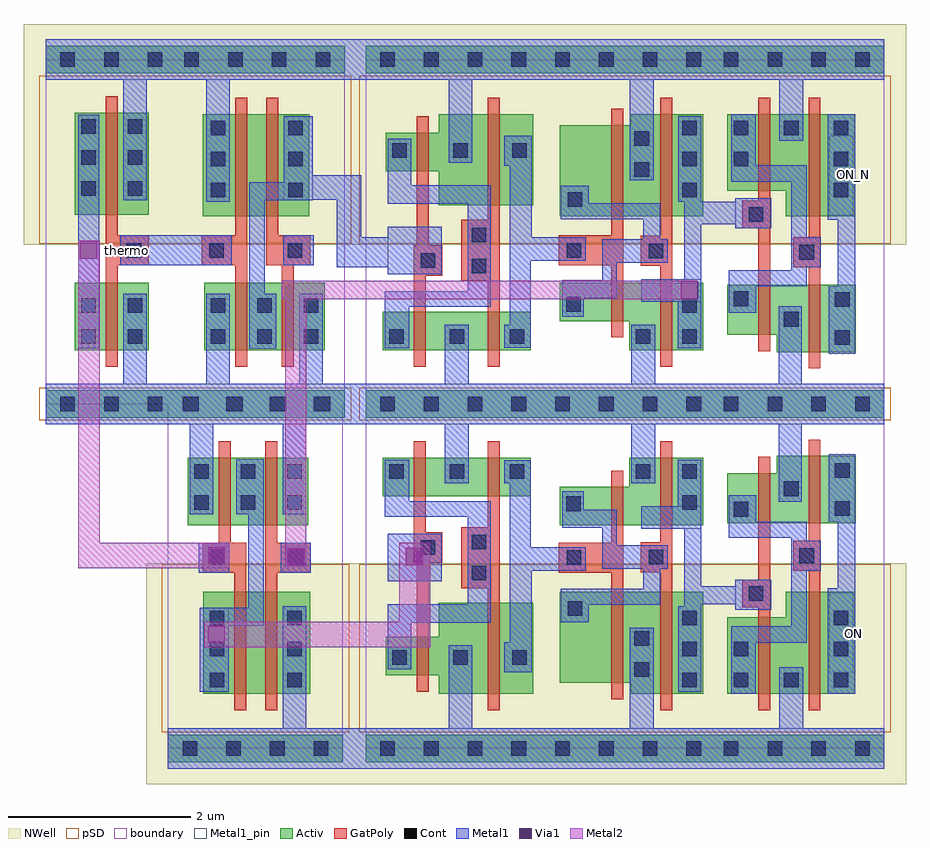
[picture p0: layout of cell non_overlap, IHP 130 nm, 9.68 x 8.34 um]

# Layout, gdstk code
from math import pi, radians
import gdstk
lib = gdstk.Library(unit=1e-6, precision=1e-09)
def R(c, l, rs):  # rectangles x0, y0, x1, y1
    for r in rs: c.add(gdstk.rectangle(r[:2], r[2:], *l))
def A(c, l, x, y, w, h, nx, ny, dx, dy):  # array of equal rectangles
    R(c, l, [(x+i*dx, y+j*dy, x+i*dx+w, y+j*dy+h) for i in range(nx) for j in range(ny)])
def P(c, l, *ps):  # polygons
    for p in ps: c.add(gdstk.Polygon(p, *l))
Activ = (1, 0)
GatPoly = (5, 0)
Cont = (6, 0)
Metal1 = (8, 0)
Metal1_pin = (8, 2)
Metal2 = (10, 0)
pSD = (14, 0)
Via1 = (19, 0)
NWell = (31, 0)
boundary = (189, 4)

sg13g2_dlygate4sd1_1 = lib.new_cell('sg13g2_dlygate4sd1_1')
R(sg13g2_dlygate4sd1_1, Activ, [(0,-0.15,3.84,0.15), (0.19,0.59,1.81,1.01), (0,3.63,3.84,3.93)])
P(sg13g2_dlygate4sd1_1, Activ, [(2.895,0.59),(2.895,0.91),(2.13,0.91),(2.13,1.33),(3.705,1.33),(3.705,0.59)],
  [(2.13,2.06),(2.13,3.06),(2.91,3.06),(2.91,3.18),(3.705,3.18),(3.705,2.06)],
  [(0.8,2.18),(0.8,2.555),(0.22,2.555),(0.22,2.975),(0.8,2.975),(0.8,3.18),(1.84,3.18),(1.84,2.18)])
P(sg13g2_dlygate4sd1_1, GatPoly, [(2.695,0.73),(2.695,1.52),(2.12,1.52),(2.12,1.85),(2.695,1.85),(2.695,3.24),(2.825,3.24),(2.825,0.73)],
  [(0.53,0.41),(0.53,1.74),(0.56,1.74),(0.56,3.155),(0.69,3.155),(0.69,1.74),(0.84,1.74),(0.84,1.41),(0.66,1.41),(0.66,0.41)],
  [(1.34,0.41),(1.34,1.35),(1.05,1.35),(1.05,2.02),(1.34,2.02),(1.34,3.36),(1.47,3.36),(1.47,0.41)],
  [(3.235,0.41),(3.235,1.515),(3.02,1.515),(3.02,1.845),(3.235,1.845),(3.235,3.36),(3.365,3.36),(3.365,0.41)])
A(sg13g2_dlygate4sd1_1, Cont, 0.16, -0.08, 0.16, 0.16, 8, 2, 0.48, 3.78)
A(sg13g2_dlygate4sd1_1, Cont, 0.26, 0.66, 0.16, 0.16, 3, 1, 0.66, 0)
A(sg13g2_dlygate4sd1_1, Cont, 3.475, 2.27, 0.16, 0.16, 1, 3, 0, 0.34)
R(sg13g2_dlygate4sd1_1, Cont, [(2.965,0.66,3.125,0.82), (3.475,0.66,3.635,0.82), (3.475,1,3.635,1.16), (2.2,1.015,2.36,1.175), (1.165,1.435,1.325,1.595), (0.605,1.495,0.765,1.655), (3.105,1.6,3.265,1.76), (2.205,1.605,2.365,1.765), (1.165,1.775,1.325,1.935), (2.215,2.165,2.375,2.325), (2.95,2.495,3.11,2.655), (0.29,2.7,0.45,2.86), (0.96,2.7,1.12,2.86), (1.61,2.7,1.77,2.86), (2.95,2.835,3.11,2.995)])
R(sg13g2_dlygate4sd1_1, Metal1, [(3.025,1.12,3.685,1.37), (0.24,1.425,0.835,1.945)])
P(sg13g2_dlygate4sd1_1, Metal1, [(2.155,0.96),(2.155,1.36),(2.595,1.36),(2.595,1.81),(3.045,1.81),(3.045,2.03),(2.14,2.03),(2.14,2.395),(2.45,2.395),(2.45,2.205),(3.235,2.205),(3.235,1.81),(3.315,1.81),(3.315,1.55),(2.755,1.55),(2.755,1.16),(2.395,1.16),(2.395,0.96)],
  [(3.425,0.61),(3.425,1.37),(3.495,1.37),(3.495,2.22),(3.43,2.22),(3.43,3.16),(3.685,3.16),(3.685,0.61)],
  [(1.52,0.615),(1.52,0.87),(1.58,0.87),(1.58,2.615),(1.52,2.615),(1.52,2.945),(1.825,2.945),(1.825,1.83),(2.415,1.83),(2.415,1.57),(1.81,1.57),(1.81,0.615)],
  [(0.21,0.61),(0.21,1.24),(1.12,1.24),(1.12,2.195),(0.24,2.195),(0.24,2.91),(0.5,2.91),(0.5,2.4),(1.375,2.4),(1.375,1.065),(0.48,1.065),(0.48,0.61)],
  [(2.9,2.455),(2.9,3.56),(1.17,3.56),(1.17,2.65),(0.91,2.65),(0.91,3.56),(0,3.56),(0,4),(3.84,4),(3.84,3.56),(3.16,3.56),(3.16,2.455)],
  [(0,-0.22),(0,0.22),(0.87,0.22),(0.87,0.87),(1.13,0.87),(1.13,0.22),(2.915,0.22),(2.915,0.87),(3.175,0.87),(3.175,0.22),(3.84,0.22),(3.84,-0.22)])
R(sg13g2_dlygate4sd1_1, Metal1_pin, [(0,-0.22,3.84,0.22), (3.025,1.12,3.685,1.37), (0.24,1.425,0.835,1.945), (0,3.56,3.84,4)])
R(sg13g2_dlygate4sd1_1, pSD, [(-0.07,-0.18,3.91,0.18), (-0.07,1.76,3.91,3.6)])
R(sg13g2_dlygate4sd1_1, NWell, [(-0.24,1.75,4.08,4.17)])
R(sg13g2_dlygate4sd1_1, boundary, [(0,0,3.84,3.78)])
sg13g2_dlygate4sd1_1.add(gdstk.Label('X', (3.36,1.26), layer=8, texttype=25))
sg13g2_dlygate4sd1_1.add(gdstk.Label('VDD', (2.085,3.79), layer=8, texttype=25))
sg13g2_dlygate4sd1_1.add(gdstk.Label('VSS', (2.2,0.005), layer=8, texttype=25))
sg13g2_dlygate4sd1_1.add(gdstk.Label('A', (0.52,1.68), layer=8, texttype=25))

sg13g2_buf_1 = lib.new_cell('sg13g2_buf_1')
R(sg13g2_buf_1, Activ, [(0,-0.15,1.92,0.15), (0,3.63,1.92,3.93)])
P(sg13g2_buf_1, Activ, [(0.74,0.57),(0.74,0.76),(0.2,0.76),(0.2,1.31),(1.61,1.31),(1.61,0.57)],
  [(0.84,2.06),(0.84,2.34),(0.2,2.34),(0.2,3.18),(1.595,3.18),(1.595,2.06)])
P(sg13g2_buf_1, GatPoly, [(1.09,0.39),(1.09,1.5),(0.92,1.5),(0.92,1.83),(1.09,1.83),(1.09,3.36),(1.22,3.36),(1.22,0.39)],
  [(0.54,0.58),(0.54,1.93),(0.365,1.93),(0.365,2.23),(0.54,2.23),(0.54,3.36),(0.67,3.36),(0.67,0.58)])
A(sg13g2_buf_1, Cont, 0.16, -0.08, 0.16, 0.16, 4, 2, 0.48, 3.78)
A(sg13g2_buf_1, Cont, 1.365, 2.27, 0.16, 0.16, 1, 3, 0, 0.34)
R(sg13g2_buf_1, Cont, [(1.38,0.65,1.54,0.81), (0.82,0.85,0.98,1.01), (1.38,1.065,1.54,1.225), (0.27,1.075,0.43,1.235), (0.99,1.585,1.15,1.745), (0.435,2,0.595,2.16), (0.27,2.61,0.43,2.77), (0.27,2.95,0.43,3.11), (0.82,2.95,0.98,3.11)])
R(sg13g2_buf_1, Metal1, [(0.285,1.93,0.68,2.26)])
P(sg13g2_buf_1, Metal1, [(0.215,1),(0.215,1.465),(0.9,1.465),(0.9,2.44),(0.24,2.44),(0.24,3.18),(0.51,3.18),(0.51,2.62),(1.07,2.62),(1.07,1.83),(1.225,1.83),(1.225,1.5),(1.07,1.5),(1.07,1.29),(0.515,1.29),(0.515,1)],
  [(1.31,0.55),(1.31,1.29),(1.41,1.29),(1.41,2.02),(1.3,2.02),(1.3,3.18),(1.6,3.18),(1.6,0.55)],
  [(0,-0.22),(0,0.22),(0.765,0.22),(0.765,1.07),(1.015,1.07),(1.015,0.22),(1.92,0.22),(1.92,-0.22)],
  [(0.77,2.89),(0.77,3.56),(0,3.56),(0,4),(1.92,4),(1.92,3.56),(1.03,3.56),(1.03,2.89)])
R(sg13g2_buf_1, Metal1_pin, [(0,-0.22,1.92,0.22), (0.285,1.93,0.68,2.26), (1.315,2.07,1.58,2.945), (1.315,2.07,1.58,2.945), (0,3.56,1.92,4)])
R(sg13g2_buf_1, pSD, [(-0.065,-0.18,1.99,0.18), (-0.065,1.76,1.99,3.6)])
R(sg13g2_buf_1, NWell, [(-0.24,1.75,2.16,4.17)])
R(sg13g2_buf_1, boundary, [(0,0,1.92,3.78)])
sg13g2_buf_1.add(gdstk.Label('X', (1.45,2.51), layer=8, texttype=25))
sg13g2_buf_1.add(gdstk.Label('A', (0.53,2.1), layer=8, texttype=25))
sg13g2_buf_1.add(gdstk.Label('VSS', (0.98,-0.01), layer=8, texttype=25))
sg13g2_buf_1.add(gdstk.Label('VDD', (1.07,3.83), layer=8, texttype=25))

sg13g2_nor2_1 = lib.new_cell('sg13g2_nor2_1')
R(sg13g2_nor2_1, Activ, [(0,-0.15,1.92,0.15), (0.38,0.59,1.7,1.33), (0.36,2.06,1.53,3.18), (0,3.63,1.92,3.93)])
P(sg13g2_nor2_1, GatPoly, [(1.23,0.41),(1.23,1.52),(1.06,1.52),(1.06,3.36),(1.19,3.36),(1.19,1.85),(1.54,1.85),(1.54,1.52),(1.36,1.52),(1.36,0.41)],
  [(0.72,0.41),(0.72,1.52),(0.35,1.52),(0.35,1.85),(0.72,1.85),(0.72,3.36),(0.85,3.36),(0.85,0.41)])
A(sg13g2_nor2_1, Cont, 0.45, 0.66, 0.16, 0.16, 3, 2, 0.51, 0.34)
A(sg13g2_nor2_1, Cont, 0.45, 2.27, 0.16, 0.16, 1, 3, 0, 0.34)
A(sg13g2_nor2_1, Cont, 1.3, 2.27, 0.16, 0.16, 1, 3, 0, 0.34)
R(sg13g2_nor2_1, Cont, [(0.16,-0.08,0.32,0.08), (0.16,-0.08,0.32,0.08), (0.64,-0.08,0.8,0.08), (0.64,-0.08,0.8,0.08), (1.12,-0.08,1.28,0.08), (1.12,-0.08,1.28,0.08), (1.6,-0.08,1.76,0.08), (1.6,-0.08,1.76,0.08), (0.435,1.605,0.595,1.765), (1.295,1.605,1.455,1.765), (0.16,3.7,0.32,3.86), (0.16,3.7,0.32,3.86), (0.64,3.7,0.8,3.86), (0.64,3.7,0.8,3.86), (1.12,3.7,1.28,3.86), (1.12,3.7,1.28,3.86), (1.6,3.7,1.76,3.86), (1.6,3.7,1.76,3.86)])
R(sg13g2_nor2_1, Metal1, [(0.35,1.52,0.68,1.85), (1.245,1.52,1.58,1.85)])
P(sg13g2_nor2_1, Metal1, [(0.87,0.605),(0.87,2.435),(1.25,2.435),(1.25,3.16),(1.57,3.16),(1.57,2.235),(1.04,2.235),(1.04,1.21),(1.17,1.21),(1.17,0.605)],
  [(0.4,2.22),(0.4,3.56),(0,3.56),(0,4),(1.92,4),(1.92,3.56),(0.66,3.56),(0.66,2.22)],
  [(0,-0.22),(0,0.22),(0.4,0.22),(0.4,1.21),(0.66,1.21),(0.66,0.22),(1.42,0.22),(1.42,1.21),(1.68,1.21),(1.68,0.22),(1.92,0.22),(1.92,-0.22)])
R(sg13g2_nor2_1, Metal1_pin, [(0,-0.22,1.92,0.22), (0.35,1.52,0.68,1.85), (1.245,1.52,1.58,1.85), (1.25,2.235,1.57,3.16), (0,3.56,1.92,4)])
R(sg13g2_nor2_1, pSD, [(-0.07,-0.18,1.99,0.18), (-0.07,1.76,1.99,3.6)])
R(sg13g2_nor2_1, NWell, [(-0.24,1.75,2.16,4.17)])
R(sg13g2_nor2_1, boundary, [(0,0,1.92,3.78)])
sg13g2_nor2_1.add(gdstk.Label('A', (0.52,1.765), layer=8, texttype=25))
sg13g2_nor2_1.add(gdstk.Label('VDD', (0.985,3.78), layer=8, texttype=25))
sg13g2_nor2_1.add(gdstk.Label('Y', (1.44,2.52), layer=8, texttype=25))
sg13g2_nor2_1.add(gdstk.Label('VSS', (0.995,0.005), layer=8, texttype=25))
sg13g2_nor2_1.add(gdstk.Label('B', (1.38,1.76), layer=8, texttype=25))

sg13g2_inv_1 = lib.new_cell('sg13g2_inv_1')
R(sg13g2_inv_1, Activ, [(0,-0.15,1.44,0.15), (0.31,0.59,1.12,1.33), (0.31,2.075,1.12,3.195), (0,3.63,1.44,3.93)])
P(sg13g2_inv_1, GatPoly, [(0.65,0.41),(0.65,1.52),(0.31,1.52),(0.31,1.85),(0.65,1.85),(0.65,3.375),(0.78,3.375),(0.78,0.41)])
A(sg13g2_inv_1, Cont, 0.38, 2.285, 0.16, 0.16, 1, 3, 0, 0.34)
A(sg13g2_inv_1, Cont, 0.89, 2.285, 0.16, 0.16, 1, 3, 0, 0.34)
R(sg13g2_inv_1, Cont, [(0.16,-0.08,0.32,0.08), (0.16,-0.08,0.32,0.08), (0.64,-0.08,0.8,0.08), (0.64,-0.08,0.8,0.08), (1.12,-0.08,1.28,0.08), (1.12,-0.08,1.28,0.08), (0.38,0.66,0.54,0.82), (0.89,0.66,1.05,0.82), (0.38,1,0.54,1.16), (0.89,1,1.05,1.16), (0.395,1.605,0.555,1.765), (0.16,3.7,0.32,3.86), (0.16,3.7,0.32,3.86), (0.64,3.7,0.8,3.86), (0.64,3.7,0.8,3.86), (1.12,3.7,1.28,3.86), (1.12,3.7,1.28,3.86)])
R(sg13g2_inv_1, Metal1, [(0.855,0.61,1.085,3.175), (0.31,1.52,0.625,1.85)])
P(sg13g2_inv_1, Metal1, [(0.33,2.235),(0.33,3.56),(0,3.56),(0,4),(1.44,4),(1.44,3.56),(0.59,3.56),(0.59,2.235)],
  [(0,-0.22),(0,0.22),(0.33,0.22),(0.33,1.21),(0.59,1.21),(0.59,0.22),(1.44,0.22),(1.44,-0.22)])
R(sg13g2_inv_1, Metal1_pin, [(0,-0.22,1.44,0.22), (0.855,0.61,1.085,3.175), (0.31,1.52,0.625,1.85), (0,3.56,1.44,4)])
R(sg13g2_inv_1, pSD, [(-0.07,-0.18,1.51,0.18), (-0.07,1.76,1.51,3.6)])
R(sg13g2_inv_1, NWell, [(-0.24,1.75,1.68,4.17)])
R(sg13g2_inv_1, boundary, [(0,0,1.44,3.78)])
sg13g2_inv_1.add(gdstk.Label('Y', (0.98,1.69), layer=8, texttype=25))
sg13g2_inv_1.add(gdstk.Label('A', (0.48,1.68), layer=8, texttype=25))
sg13g2_inv_1.add(gdstk.Label('VSS', (0.72,-0.02), layer=8, texttype=25))
sg13g2_inv_1.add(gdstk.Label('VDD', (0.705,3.78), layer=8, texttype=25))

non_overlap = lib.new_cell('non_overlap')
R(non_overlap, Metal1, [(-7.06,-28.1,-6.18,-27.66), (-3.035,-26.3,-2.08,-26.1), (-7.09,-24.32,-6.15,-23.88), (-6.85,-22.6,-6.58,-21.59), (-6.85,-22.6,-5.695,-22.27), (-9.225,-22.58,-8,-22.25), (-3.035,-22.13,-2.08,-21.88), (-7.43,-21.86,-6.58,-21.59), (-6.96,-20.54,-6.22,-20.1)])
R(non_overlap, Metal1_pin, [(-7.06,-28.1,-6.18,-27.66), (-7.09,-24.32,-6.15,-23.88), (-6.96,-20.54,-6.22,-20.1)])
R(non_overlap, Metal2, [(-8.3,-26.77,-5.82,-26.49), (-6.16,-26.77,-5.82,-25.62), (-9.685,-25.9,-9.45,-22.31), (-9.685,-25.9,-8.025,-25.62), (-7.41,-25.88,-7.18,-22.77), (-7.45,-22.95,-2.89,-22.75)])
R(non_overlap, Via1, [(-8.265,-26.725,-8.075,-26.535), (-7.39,-25.875,-7.2,-25.685), (-6.09,-25.87,-5.9,-25.68), (-8.265,-25.855,-8.075,-25.665), (-3.07,-22.945,-2.88,-22.755), (-9.665,-22.505,-9.475,-22.315)])
non_overlap.add(gdstk.Reference(sg13g2_dlygate4sd1_1, (-6.53,-24.1)))
non_overlap.add(gdstk.Reference(sg13g2_buf_1, (-2.76,-24.1)))
non_overlap.add(gdstk.Reference(sg13g2_nor2_1, (-8.68,-24.1)))
non_overlap.add(gdstk.Reference(sg13g2_inv_1, (-8.6,-24.1), rotation=pi, x_reflection=True))
non_overlap.add(gdstk.Reference(sg13g2_nor2_1, (-6.78,-24.1), rotation=pi))
non_overlap.add(gdstk.Reference(sg13g2_buf_1, (-2.76,-24.1), x_reflection=True))
non_overlap.add(gdstk.Reference(sg13g2_dlygate4sd1_1, (-6.53,-24.1), x_reflection=True))
non_overlap.add(gdstk.Label('thermo', (-9.155,-22.42), layer=8, texttype=2))
non_overlap.add(gdstk.Label('ON_N', (-1.18,-21.58), layer=8, texttype=2))
non_overlap.add(gdstk.Label('ON', (-1.18,-26.62), layer=8, texttype=2))

lib.write_gds('non_overlap.gds')
